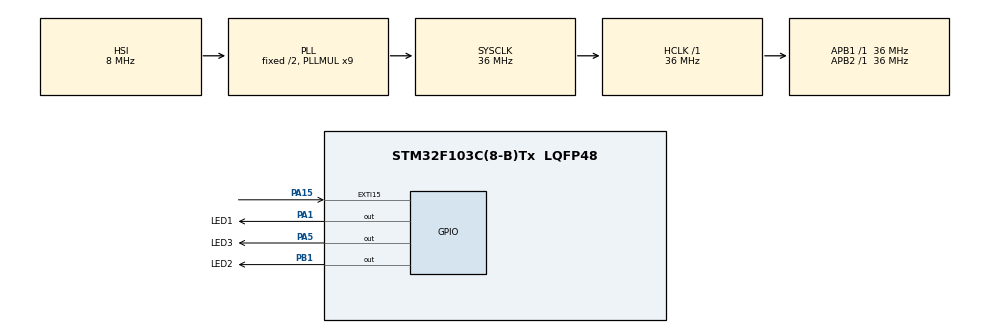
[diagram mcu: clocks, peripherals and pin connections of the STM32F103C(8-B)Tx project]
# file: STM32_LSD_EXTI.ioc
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Mcu.Family=STM32F1
Mcu.Name=STM32F103C(8-B)Tx
Mcu.Package=LQFP48
NVIC.EXTI15_10_IRQn=true\:1\:0\:true\:false\:true\:true\:true\:true
NVIC.PriorityGroup=NVIC_PRIORITYGROUP_4
PA1.GPIO_Label=LED1
PA1.PinState=GPIO_PIN_SET
PA1.Signal=GPIO_Output
PA13.Mode=Serial_Wire
PA13.Signal=SYS_JTMS-SWDIO
PA14.Mode=Serial_Wire
PA14.Signal=SYS_JTCK-SWCLK
PA15.GPIO_ModeDefaultEXTI=GPIO_MODE_IT_RISING_FALLING
PA15.Signal=GPXTI15
PA5.GPIO_Label=LED3
PA5.PinState=GPIO_PIN_SET
PA5.Signal=GPIO_Output
PB1.GPIO_Label=LED2
PB1.PinState=GPIO_PIN_SET
PB1.Signal=GPIO_Output
ProjectManager.HeapSize=0x200
ProjectManager.StackSize=0x400
ProjectManager.TargetToolchain=MDK-ARM V5
RCC.AHBFreq_Value=36000000
RCC.APB1Freq_Value=36000000
RCC.APB1TimFreq_Value=36000000
RCC.APB2Freq_Value=36000000
RCC.APB2TimFreq_Value=36000000
RCC.HCLKFreq_Value=36000000
RCC.PLLMUL=RCC_PLL_MUL9
RCC.SYSCLKFreq_VALUE=36000000
RCC.SYSCLKSource=RCC_SYSCLKSOURCE_PLLCLK
RCC.USBFreq_Value=36000000
board=custom

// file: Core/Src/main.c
/* USER CODE BEGIN Header */
/**
  ******************************************************************************
  * @file           : main.c
  * @brief          : Main program body
  ******************************************************************************
  * @attention
  *
  * Copyright (c) 2025 STMicroelectronics.
  * All rights reserved.
  *
  * This software is licensed under terms that can be found in the LICENSE file
  * in the root directory of this software component.
  * If no LICENSE file comes with this software, it is provided AS-IS.
  *
  ******************************************************************************
  */
/* USER CODE END Header */
#include "main.h"
#include "gpio.h"

/* USER CODE BEGIN PD */
// 定义中断引脚（PA15）
#define SWITCH_Pin       GPIO_PIN_15
#define SWITCH_GPIO_Port GPIOA
// 定义LED点亮/关闭电平
#define LED_ON           GPIO_PIN_RESET
#define LED_OFF          GPIO_PIN_SET
// 按键消抖时间
#define KEY_DEBOUNCE_MS  20
/* USER CODE END PD */

// 流水灯控制标志：0=关闭（LED全灭），1=运行（流水灯）
uint8_t flag = 0;
// 中断消抖时间记录
uint32_t last_key_time = 0;

void SystemClock_Config(void);
void LED_All_Off(void);  // 声明LED全灭函数

/* USER CODE BEGIN 0 */
/**
  * @brief  GPIO中断回调函数：处理PA15按键中断，更新流水灯标志（带消抖）
  * @param  GPIO_Pin: 触发中断的引脚
  * @retval None
  */
void HAL_GPIO_EXTI_Callback(uint16_t GPIO_Pin)
{
    // 仅处理PA15引脚的中断（过滤其他中断）
    if (GPIO_Pin == SWITCH_Pin)
    {
        // 按键消抖：当前时间与上次触发时间间隔超过消抖时间，才执行逻辑
        uint32_t current_time = HAL_GetTick();
        if ((current_time - last_key_time) > KEY_DEBOUNCE_MS)
        {
            // 读取PA15当前电平，更新flag（0=低电平，1=高电平）
            flag = HAL_GPIO_ReadPin(SWITCH_GPIO_Port, SWITCH_Pin);

            // 若flag=0（PA15低电平），立即关闭所有LED（避免残留点亮状态）
            if (flag == 0)
            {
                LED_All_Off();
            }

            // 更新上次中断时间（用于下次消抖判断）
            last_key_time = current_time;
        }

        // 强制清除中断标志（防止中断重复触发）
        __HAL_GPIO_EXTI_CLEAR_IT(SWITCH_Pin);
    }
}

/**
  * @brief  关闭所有LED（统一控制，确保PA1、PB1、PA5全灭）
  * @retval None
  */
void LED_All_Off(void)
{
    HAL_GPIO_WritePin(GPIOA, GPIO_PIN_1, LED_OFF);
    HAL_GPIO_WritePin(GPIOB, GPIO_PIN_1, LED_OFF);
    HAL_GPIO_WritePin(GPIOA, GPIO_PIN_5, LED_OFF);
}
/* USER CODE END 0 */

int main(void)
{

  /* MCU Configuration--------------------------------------------------------*/

  /* Reset of all peripherals, Initializes the Flash interface and the Systick. */
  HAL_Init();

  /* Configure the system clock */
  SystemClock_Config();

  /* Initialize all configured peripherals */
  MX_GPIO_Init();
  /* USER CODE BEGIN 2 */
  // 初始化：关闭所有LED（与flag初始值0保持一致）
  LED_All_Off();
  // 初始化按键消抖时间（避免上电后首次中断误触发）
  last_key_time = HAL_GetTick();
  /* USER CODE END 2 */

  /* Infinite loop */
  while (1)
  {

    /* USER CODE BEGIN 3 */
    // 根据flag状态执行对应逻辑（所有分支均在循环内，确保可执行）
    if (flag == 1)  // PA15高电平：流水灯运行
    {
      /* 点亮PA1，关闭其他LED */
      HAL_GPIO_WritePin(GPIOA, GPIO_PIN_1, LED_ON);
      HAL_GPIO_WritePin(GPIOB, GPIO_PIN_1, LED_OFF);
      HAL_GPIO_WritePin(GPIOA, GPIO_PIN_5, LED_OFF);
      HAL_Delay(100);  // 延时0.1秒

      /* 点亮PB1，关闭其他LED */
      HAL_GPIO_WritePin(GPIOA, GPIO_PIN_1, LED_OFF);
      HAL_GPIO_WritePin(GPIOB, GPIO_PIN_1, LED_ON);
      HAL_GPIO_WritePin(GPIOA, GPIO_PIN_5, LED_OFF);
      HAL_Delay(100);  // 延时0.1秒

      /* 点亮PA5，关闭其他LED */
      HAL_GPIO_WritePin(GPIOA, GPIO_PIN_1, LED_OFF);
      HAL_GPIO_WritePin(GPIOB, GPIO_PIN_1, LED_OFF);
      HAL_GPIO_WritePin(GPIOA, GPIO_PIN_5, LED_ON);
      HAL_Delay(100);  // 延时0.1秒
    }
    else if (flag == 0)  // PA15低电平：保持LED全灭
    {
      LED_All_Off();  // 即使中断未触发，循环内也会持续确保LED全灭
    }
  }
  /* USER CODE END 3 */
}

void SystemClock_Config(void)
{
  RCC_OscInitTypeDef RCC_OscInitStruct = {0};
  RCC_ClkInitTypeDef RCC_ClkInitStruct = {0};

  /** Initializes the RCC Oscillators according to the specified parameters
  * in the RCC_OscInitTypeDef structure.
  */
  RCC_OscInitStruct.OscillatorType = RCC_OSCILLATORTYPE_HSI;
  RCC_OscInitStruct.HSIState = RCC_HSI_ON;
  RCC_OscInitStruct.HSICalibrationValue = RCC_HSICALIBRATION_DEFAULT;
  RCC_OscInitStruct.PLL.PLLState = RCC_PLL_ON;
  RCC_OscInitStruct.PLL.PLLSource = RCC_PLLSOURCE_HSI_DIV2;
  RCC_OscInitStruct.PLL.PLLMUL = RCC_PLL_MUL9;
  if (HAL_RCC_OscConfig(&RCC_OscInitStruct) != HAL_OK)
  {
    Error_Handler();
  }

  /** Initializes the CPU, AHB and APB buses clocks
  */
  RCC_ClkInitStruct.ClockType = RCC_CLOCKTYPE_HCLK|RCC_CLOCKTYPE_SYSCLK
                              |RCC_CLOCKTYPE_PCLK1|RCC_CLOCKTYPE_PCLK2;
  RCC_ClkInitStruct.SYSCLKSource = RCC_SYSCLKSOURCE_PLLCLK;
  RCC_ClkInitStruct.AHBCLKDivider = RCC_SYSCLK_DIV1;
  RCC_ClkInitStruct.APB1CLKDivider = RCC_HCLK_DIV1;
  RCC_ClkInitStruct.APB2CLKDivider = RCC_HCLK_DIV1;

  if (HAL_RCC_ClockConfig(&RCC_ClkInitStruct, FLASH_LATENCY_1) != HAL_OK)
  {
    Error_Handler();
  }
}

void Error_Handler(void)
{
  /* USER CODE BEGIN Error_Handler_Debug */
  /* User can add his own implementation to report the HAL error return state */
  __disable_irq();
  while (1)
  {
    // 错误状态提示：3个LED快速闪烁（区别于正常流水灯，便于排查问题）
    LED_All_Off();
    HAL_Delay(300);
    HAL_GPIO_WritePin(GPIOA, GPIO_PIN_1, LED_ON);
    HAL_GPIO_WritePin(GPIOB, GPIO_PIN_1, LED_ON);
    HAL_GPIO_WritePin(GPIOA, GPIO_PIN_5, LED_ON);
    HAL_Delay(300);
  }
  /* USER CODE END Error_Handler_Debug */
}
